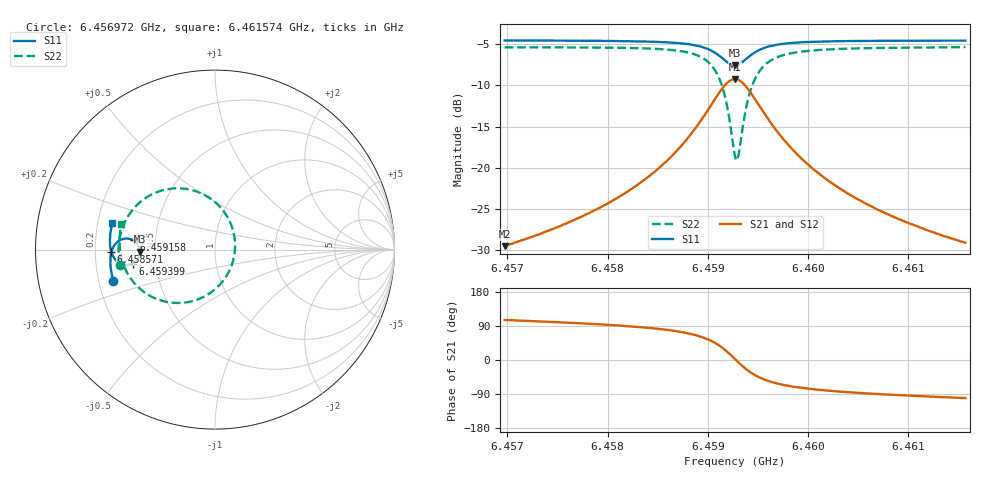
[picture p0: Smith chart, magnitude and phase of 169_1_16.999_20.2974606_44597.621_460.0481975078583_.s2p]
#  HZ  S  RI  R  50.00
! Rohde & Schwarz Vector Network Analyzer
! Rohde-Schwarz,ZNB20-2Port,1311601062101988,3.16
! Created: UTC 3/20/2024, 10:59:40 PM
! freq[Hz]  re:S11  im:S11  re:S21  im:S21  re:S12  im:S12  re:S22  im:S22
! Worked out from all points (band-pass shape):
!   401 points, 6.456972 GHz to 6.461574 GHz, reference 50 ohm
!   highest |S21| = -9.23 dB at 6.459273 GHz (marker M1); lowest = -29.5 dB at 6.456972 GHz (marker M2)
!   |S21| within 3 dB of the highest: 6.459043 GHz to 6.459502 GHz (459.9 kHz wide, 0.00712 % of centre)
!   lowest |S11| = -7.6 dB at 6.459273 GHz (marker M3), VSWR 2.43, Z = 20.5 - j0.59 ohm
!   |S11| at or under -10 dB: nowhere
!   |S22| runs from -19.1 to -5.4 dB; largest |S21 - S12| = 0.013
!   S11 on the Smith chart (normalised r, x): 6.456972 GHz: 0.26, -0.14; 6.458571 GHz: 0.27, -0.01; 6.459158 GHz: 0.37, +0.05; 6.459399 GHz: 0.37, -0.07; 6.461574 GHz: 0.26, +0.12
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6.4569718e9  -0.5661 -0.1739  -0.00897 0.0323  -0.00738 0.0323  -0.5314 -0.087
6.4577426e9  -0.5803 -0.1066  -0.0057 0.0503  -0.00324 0.0498  -0.5371 0.003
6.4581797e9  -0.5834 -0.0627  0.000389 0.0706  0.0036 0.0693  -0.529 0.0727
6.4585134e9  -0.5796 -0.0225  0.0138 0.0989  0.0178 0.0961  -0.5043 0.1482
6.4585709e9  -0.5778 -0.0146  0.0183 0.1058  0.0222 0.1027  -0.4962 0.1649
6.458778e9  -0.5648 0.0175  0.0456 0.1383  0.0498 0.1334  -0.4451 0.2377
6.4589275e9  -0.5422 0.044  0.0907 0.169  0.0941 0.1623  -0.3617 0.3026
6.4590656e9  -0.4983 0.0616  0.1781 0.1857  0.1791 0.1784  -0.2026 0.3416
6.4591576e9  -0.4535 0.0514  0.2683 0.1547  0.2685 0.1487  -0.0359 0.2916
6.4592266e9  -0.4244 0.0192  0.329 0.0827  0.3312 0.0774  0.0796 0.1621
6.4592727e9  -0.4175 -0.0118  0.3454 0.0147  0.349 0.00776  0.1118 0.0353
6.4592842e9  -0.4179 -0.02  0.3451 -0.00311  0.3491 -0.0107  0.1113 0.0016
6.4593072e9  -0.4215 -0.0356  0.3396 -0.0377  0.3434 -0.0469  0.1003 -0.064
6.4593532e9  -0.4371 -0.0618  0.3109 -0.0977  0.3133 -0.1096  0.0428 -0.177
6.4593992e9  -0.4592 -0.0781  0.2689 -0.1387  0.2681 -0.1519  -0.0421 -0.2516
6.4594912e9  -0.5026 -0.0849  0.1843 -0.1698  0.1783 -0.1814  -0.2105 -0.2975
6.4596408e9  -0.5465 -0.0644  0.0965 -0.1561  0.0881 -0.1624  -0.3774 -0.2485
6.4598019e9  -0.5681 -0.0369  0.0517 -0.1284  0.0442 -0.1312  -0.4579 -0.1769
6.4600434e9  -0.5809 -0.0013  0.0225 -0.0971  0.0168 -0.0977  -0.5058 -0.0947
6.4604001e9  -0.5856 0.0409  0.00618 -0.0696  0.00224 -0.0691  -0.5281 -0.0137
6.4608142e9  -0.5837 0.0825  -0.00122 -0.0519  -0.00409 -0.0511  -0.5319 0.0521
6.4615735e9  -0.5718 0.1497  -0.0063 -0.0346  -0.00804 -0.0336  -0.521 0.1418
